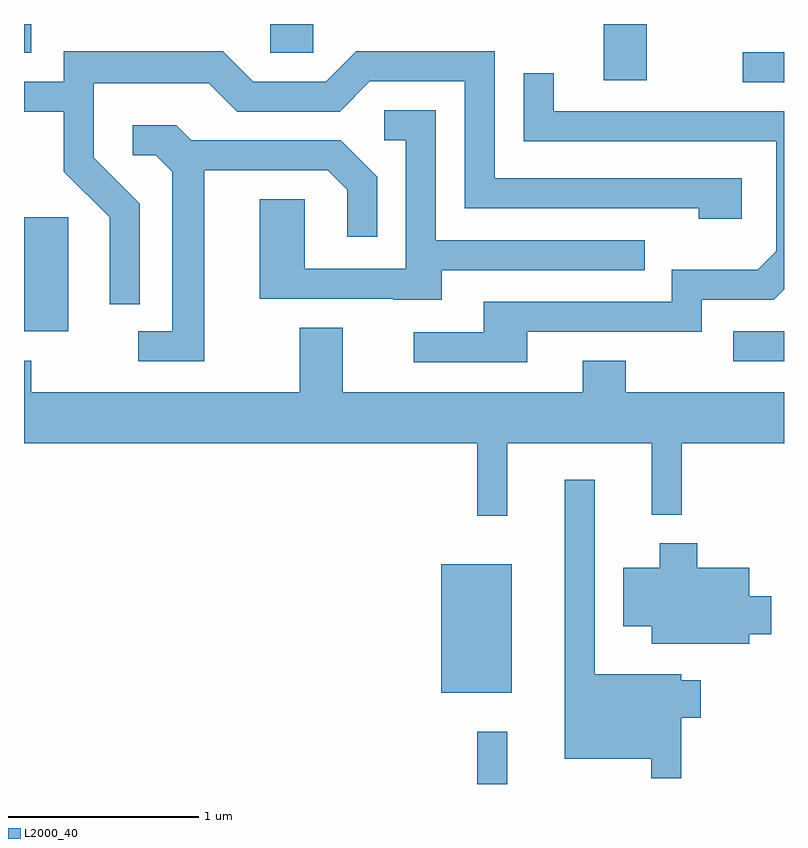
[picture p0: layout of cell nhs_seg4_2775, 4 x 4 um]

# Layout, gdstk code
import gdstk
lib = gdstk.Library(unit=1e-6, precision=1e-09)
def R(c, l, rs):  # rectangles x0, y0, x1, y1
    for r in rs: c.add(gdstk.rectangle(r[:2], r[2:], *l))
def P(c, l, *ps):  # polygons
    for p in ps: c.add(gdstk.Polygon(p, *l))
L2000_40 = (2000, 40)

nhs_seg4_2775 = lib.new_cell('nhs_seg4_2775')
R(nhs_seg4_2775, L2000_40, [(267.996,1363.982,268.154,1364.258), (267.806,1364.461,268.179,1365.139), (269.343,1366.206,269.611,1366.364), (265.611,1366.366,265.844,1366.964), (269.393,1367.676,269.611,1367.834), (268.661,1367.686,268.889,1367.982), (265.611,1367.831,265.649,1367.982), (266.906,1367.831,267.134,1367.982)])
P(nhs_seg4_2775, L2000_40, [(266.219,1367.037),(265.979,1367.277),(265.979,1367.671),(266.584,1367.671),(266.734,1367.521),(267.272,1367.521),(267.432,1367.681),(267.931,1367.681),(267.931,1367.011),(269.161,1367.011),(269.161,1366.956),(269.389,1366.956),(269.389,1367.169),(268.089,1367.169),(268.089,1367.839),(267.359,1367.839),(267.199,1367.679),(266.817,1367.679),(266.657,1367.839),(265.821,1367.839),(265.821,1367.679),(265.611,1367.679),(265.611,1367.521),(265.821,1367.521),(265.821,1367.204),(266.061,1366.964),(266.061,1366.508),(266.219,1366.508)],
  [(268.259,1366.361),(269.179,1366.361),(269.179,1366.531),(269.557,1366.531),(269.611,1366.585),(269.611,1367.524),(268.399,1367.524),(268.399,1367.723),(268.241,1367.723),(268.241,1367.366),(269.571,1367.366),(269.571,1366.787),(269.474,1366.689),(269.021,1366.689),(269.021,1366.519),(268.031,1366.519),(268.031,1366.359),(267.663,1366.359),(267.663,1366.201),(268.259,1366.201)],
  [(267.809,1366.686),(268.878,1366.686),(268.878,1366.844),(267.779,1366.844),(267.779,1367.529),(267.508,1367.529),(267.508,1367.371),(267.621,1367.371),(267.621,1366.694),(267.089,1366.694),(267.089,1367.059),(266.851,1367.059),(266.851,1366.536),(267.555,1366.536),(267.555,1366.531),(267.809,1366.531)],
  [(266.559,1367.211),(267.209,1367.211),(267.311,1367.109),(267.311,1366.863),(267.469,1366.863),(267.469,1367.177),(267.277,1367.369),(266.492,1367.369),(266.412,1367.449),(266.183,1367.449),(266.183,1367.291),(266.304,1367.291),(266.391,1367.204),(266.391,1366.364),(266.213,1366.364),(266.213,1366.206),(266.559,1366.206)],
  [(268.154,1365.776),(268.916,1365.776),(268.916,1365.398),(269.074,1365.398),(269.074,1365.776),(269.611,1365.776),(269.611,1366.044),(268.779,1366.044),(268.779,1366.209),(268.551,1366.209),(268.551,1366.044),(267.289,1366.044),(267.289,1366.384),(267.061,1366.384),(267.061,1366.044),(265.649,1366.044),(265.649,1366.209),(265.611,1366.209),(265.611,1365.776),(267.996,1365.776),(267.996,1365.393),(268.154,1365.393)],
  [(269.069,1364.331),(269.174,1364.331),(269.174,1364.529),(269.069,1364.529),(269.069,1364.559),(268.614,1364.559),(268.614,1365.583),(268.456,1365.583),(268.456,1364.116),(268.911,1364.116),(268.911,1364.013),(269.069,1364.013)],
  [(269.429,1364.771),(269.544,1364.771),(269.544,1364.969),(269.429,1364.969),(269.429,1365.119),(269.154,1365.119),(269.154,1365.249),(268.956,1365.249),(268.956,1365.119),(268.766,1365.119),(268.766,1364.811),(268.916,1364.811),(268.916,1364.721),(269.429,1364.721)])

lib.write_gds('nhs_seg4_2775.gds')
